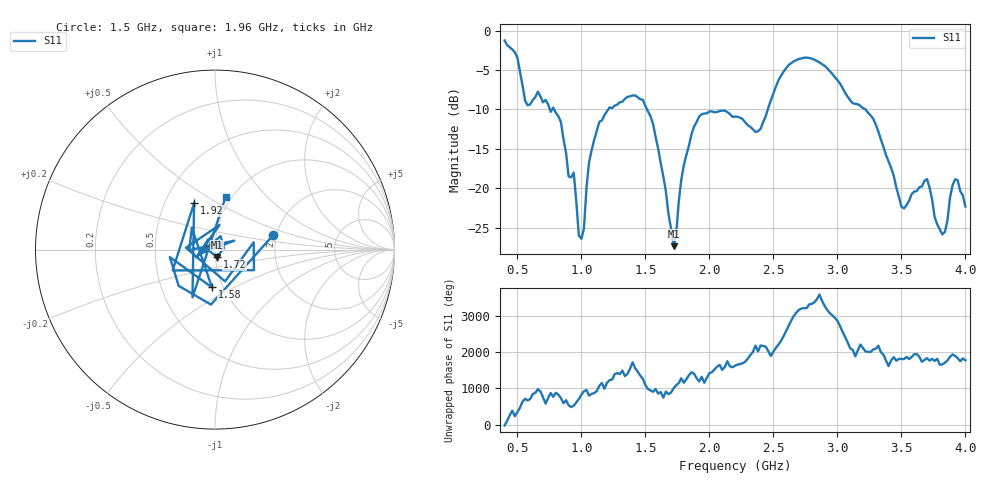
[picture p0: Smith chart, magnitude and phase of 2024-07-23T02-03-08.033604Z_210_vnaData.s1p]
!Created with skrf (http://scikit-rf.org).
# Hz S RI R 50.0
!freq ReS11 ImS11
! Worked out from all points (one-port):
!   181 points, 400 MHz to 4 GHz, reference 50 ohm
!   lowest |S11| = -27.4 dB at 1.72 GHz (marker M1), VSWR 1.09, Z = 50.8 - j4.24 ohm
!   |S11| at or under -10 dB: 786.9 MHz to 1.21 GHz (423.3 MHz wide, 42.4 % of centre); 1.512 GHz to 2.456 GHz (943.8 MHz wide, 47.6 % of centre); 3.219 GHz to end of sweep (the widest 3 of 4)
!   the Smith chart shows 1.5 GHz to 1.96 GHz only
!   S11 on the Smith chart (normalised r, x): 1.5 GHz: 1.91, +0.34; 1.58 GHz: 0.89, -0.39; 1.72 GHz: 1.02, -0.08; 1.92 GHz: 0.70, +0.40; 1.96 GHz: 0.94, +0.60
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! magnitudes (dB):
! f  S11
! 400 MHz  -1.3
! 500 MHz  -3.4
! 580 MHz  -9.5
! 660 MHz  -7.8
! 860 MHz  -13.8
! 900 MHz  -18.5
! 940 MHz  -18.0
! 980 MHz  -26.0
! 1 GHz  -26.4
! 1.1 GHz  -13.9
! 1.3 GHz  -9.1
! 1.5 GHz  -9.6
! 1.58 GHz  -13.5
! 1.72 GHz  -27.4
! 1.76 GHz  -21.8
! 1.92 GHz  -10.9
! 1.96 GHz  -10.5
! 2.2 GHz  -10.9
! 2.38 GHz  -12.8
! 2.66 GHz  -3.9
! 3.1 GHz  -8.8
! 3.28 GHz  -11.2
! 3.5 GHz  -22.3
! 3.56 GHz  -21.6
! 3.7 GHz  -18.9
! 3.82 GHz  -25.9
! 3.92 GHz  -18.9
! 4 GHz  -22.3
